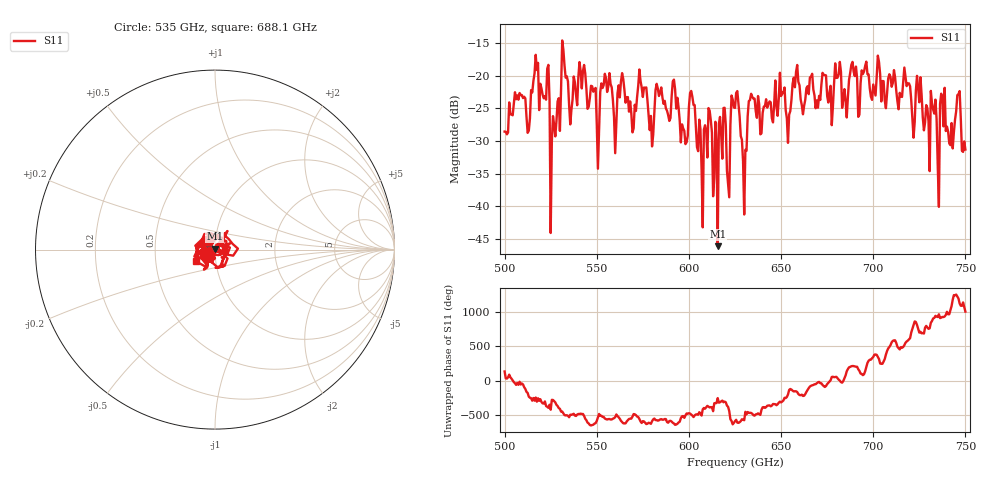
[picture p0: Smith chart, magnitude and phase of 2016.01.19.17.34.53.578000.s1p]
!Created with skrf (http://scikit-rf.org).
# GHz S RI R 50.0
!freq ReS11 ImS11
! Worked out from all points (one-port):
!   401 points, 500 GHz to 750 GHz, reference 50 ohm
!   lowest |S11| = -46.1 dB at 615.6 GHz (marker M1), VSWR 1.01, Z = 49.8 + j0.46 ohm
!   |S11| at or under -10 dB: start of sweep to end of sweep
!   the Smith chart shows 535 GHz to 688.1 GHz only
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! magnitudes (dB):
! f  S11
! 500 GHz  -28.6
! 513.1 GHz  -28.4
! 516.9 GHz  -16.8
! 523.1 GHz  -18.9
! 526.2 GHz  -26.2
! 531.2 GHz  -14.6
! 550.6 GHz  -34.3
! 553.8 GHz  -21.4
! 560 GHz  -31.9
! 562.5 GHz  -23.3
! 570 GHz  -28.1
! 574.4 GHz  -21.8
! 579.4 GHz  -26.2
! 583.1 GHz  -22.0
! 593.8 GHz  -23.4
! 615.6 GHz  -46.1
! 618.1 GHz  -32.7
! 621.2 GHz  -36.7
! 625 GHz  -24.9
! 630 GHz  -41.3
! 633.8 GHz  -22.8
! 656.2 GHz  -21.2
! 687.5 GHz  -19.6
! 718.8 GHz  -21.2
! 732.5 GHz  -25.2
! 734.4 GHz  -26.7
! 746.2 GHz  -22.8
! 750 GHz  -31.3
